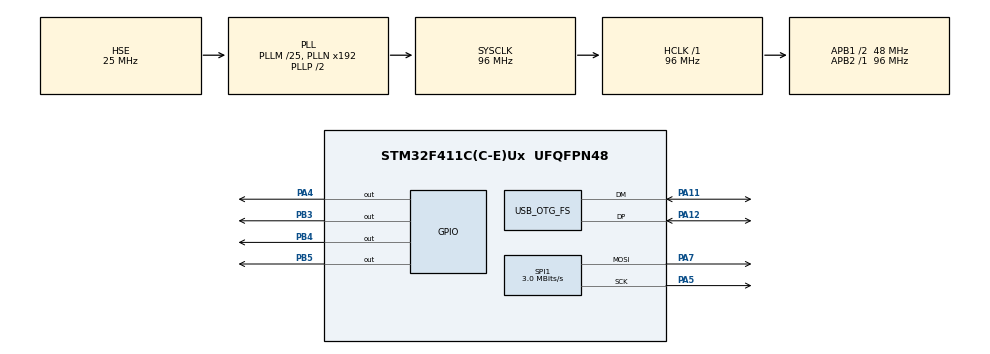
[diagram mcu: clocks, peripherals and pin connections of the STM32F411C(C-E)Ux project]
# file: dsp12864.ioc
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Mcu.Family=STM32F4
Mcu.Name=STM32F411C(C-E)Ux
Mcu.Package=UFQFPN48
NVIC.OTG_FS_IRQn=true\:0\:0\:false\:false\:true\:false\:true
NVIC.PriorityGroup=NVIC_PRIORITYGROUP_4
PA11.Mode=Device_Only
PA11.Signal=USB_OTG_FS_DM
PA12.Mode=Device_Only
PA12.Signal=USB_OTG_FS_DP
PA13.Mode=Serial_Wire
PA13.Signal=SYS_JTMS-SWDIO
PA14.Mode=Serial_Wire
PA14.Signal=SYS_JTCK-SWCLK
PA4.PinState=GPIO_PIN_SET
PA4.Signal=GPIO_Output
PA5.Mode=TX_Only_Simplex_Unidirect_Master
PA5.Signal=SPI1_SCK
PA7.Mode=TX_Only_Simplex_Unidirect_Master
PA7.Signal=SPI1_MOSI
PB3.Signal=GPIO_Output
PB4.Signal=GPIO_Output
PB5.PinState=GPIO_PIN_SET
PB5.Signal=GPIO_Output
PH0\ -\ OSC_IN.Mode=HSE-External-Oscillator
PH0\ -\ OSC_IN.Signal=RCC_OSC_IN
PH1\ -\ OSC_OUT.Mode=HSE-External-Oscillator
PH1\ -\ OSC_OUT.Signal=RCC_OSC_OUT
ProjectManager.HeapSize=0x4000
ProjectManager.StackSize=0x8000
ProjectManager.TargetToolchain=MDK-ARM V5
RCC.48MHZClocksFreq_Value=48000000
RCC.AHBFreq_Value=96000000
RCC.APB1CLKDivider=RCC_HCLK_DIV2
RCC.APB1Freq_Value=48000000
RCC.APB1TimFreq_Value=96000000
RCC.APB2Freq_Value=96000000
RCC.APB2TimFreq_Value=96000000
RCC.CortexFreq_Value=96000000
RCC.HCLKFreq_Value=96000000
RCC.HSE_VALUE=25000000
RCC.HSI_VALUE=16000000
RCC.LSE_VALUE=32768
RCC.PLLM=25
RCC.SYSCLKFreq_VALUE=96000000
RCC.SYSCLKSource=RCC_SYSCLKSOURCE_PLLCLK
RCC.VCOOutputFreq_Value=192000000
SPI1.BaudRatePrescaler=SPI_BAUDRATEPRESCALER_32
SPI1.CLKPhase=SPI_PHASE_2EDGE
SPI1.CLKPolarity=SPI_POLARITY_HIGH
SPI1.CalculateBaudRate=3.0 MBits/s
SPI1.Direction=SPI_DIRECTION_2LINES
SPI1.Mode=SPI_MODE_MASTER
SPI1.VirtualType=VM_MASTER
USB_DEVICE.CLASS_NAME_FS=CDC
USB_DEVICE.USBD_MAX_STR_DESC_SIZ=512
USB_DEVICE.USBD_SELF_POWERED=1
USB_DEVICE.VirtualMode=Cdc
USB_DEVICE.VirtualModeFS=Cdc_FS
USB_OTG_FS.VirtualMode=Device_Only
VP_USB_DEVICE_VS_USB_DEVICE_CDC_FS.Mode=CDC_FS
board=custom

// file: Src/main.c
/* USER CODE BEGIN Header */
/**
  ******************************************************************************
  * @file           : main.c
  * @brief          : Main program body
  ******************************************************************************
  * @attention
  *
  * <h2><center>&copy; Copyright (c) 2020 STMicroelectronics.
  * All rights reserved.</center></h2>
  *
  * This software component is licensed by ST under BSD 3-Clause license,
  * the "License"; You may not use this file except in compliance with the
  * License. You may obtain a copy of the License at:
  *                        opensource.org/licenses/BSD-3-Clause
  *
  ******************************************************************************
  */
/* USER CODE END Header */

#include "main.h"
#include "usb_device.h"

SPI_HandleTypeDef hspi1;

void SystemClock_Config(void);
static void MX_GPIO_Init(void);
static void MX_SPI1_Init(void);

/* USER CODE BEGIN 0 */
void sendCommand(uint8_t cmd){
	HAL_GPIO_WritePin(GPIOB,GPIO_PIN_5,GPIO_PIN_RESET);
	__nop();__nop();__nop();__nop();__nop();__nop();__nop();__nop();
	__nop();__nop();__nop();__nop();__nop();__nop();__nop();__nop();
	__nop();__nop();__nop();__nop();__nop();__nop();__nop();__nop();
	__nop();__nop();__nop();__nop();__nop();__nop();__nop();__nop();
	__nop();__nop();__nop();__nop();__nop();__nop();__nop();__nop();
	__nop();__nop();__nop();__nop();__nop();__nop();__nop();__nop();
	HAL_SPI_Transmit(&hspi1,&cmd,1,1);
	__nop();__nop();__nop();__nop();__nop();__nop();__nop();__nop();
	__nop();__nop();__nop();__nop();__nop();__nop();__nop();__nop();
	__nop();__nop();__nop();__nop();__nop();__nop();__nop();__nop();
	__nop();__nop();__nop();__nop();__nop();__nop();__nop();__nop();
	__nop();__nop();__nop();__nop();__nop();__nop();__nop();__nop();
	__nop();__nop();__nop();__nop();__nop();__nop();__nop();__nop();
	HAL_GPIO_WritePin(GPIOB,GPIO_PIN_5,GPIO_PIN_SET);
	__nop();__nop();__nop();__nop();__nop();__nop();__nop();__nop();
	__nop();__nop();__nop();__nop();__nop();__nop();__nop();__nop();
	__nop();__nop();__nop();__nop();__nop();__nop();__nop();__nop();
	__nop();__nop();__nop();__nop();__nop();__nop();__nop();__nop();
	__nop();__nop();__nop();__nop();__nop();__nop();__nop();__nop();
	__nop();__nop();__nop();__nop();__nop();__nop();__nop();__nop();
}
void clearScreen(){
	for(uint8_t i=32;i<96;i++){
		//set colume
		HAL_GPIO_WritePin(GPIOB,GPIO_PIN_4,GPIO_PIN_RESET);

		sendCommand(0x00+i&0x0F);
		sendCommand(0x10+(i>>4));

		HAL_GPIO_WritePin(GPIOB,GPIO_PIN_4,GPIO_PIN_SET);
		for(uint8_t j=0;j<16;j++){
			sendCommand(0);
		}
	}
	HAL_GPIO_WritePin(GPIOB,GPIO_PIN_4,GPIO_PIN_RESET);
}
void writeScreen(uint8_t* data){
		for(uint8_t i=32;i<96;i++){
		//set colume
		HAL_GPIO_WritePin(GPIOB,GPIO_PIN_4,GPIO_PIN_RESET);

		sendCommand(0x00+i&0x0F);
		sendCommand(0x10+(i>>4));

		HAL_GPIO_WritePin(GPIOB,GPIO_PIN_4,GPIO_PIN_SET);
		for(uint8_t j=0;j<16;j++){
			sendCommand(*(data+16*(i-32)+j));
			//sendCommand(2);
		}
	}
	HAL_GPIO_WritePin(GPIOB,GPIO_PIN_4,GPIO_PIN_RESET);
}
uint8_t screenData[1024];
void writeBuffer(uint8_t* Buf, uint32_t *Len){
	if(*Len!=64)return;
	static uint8_t page=0;
	memcpy(screenData+64*page,Buf,64);
	page=(page+1)%16;
}
/* USER CODE END 0 */

int main(void)
{

  /* MCU Configuration--------------------------------------------------------*/

  /* Reset of all peripherals, Initializes the Flash interface and the Systick. */
  HAL_Init();

  /* Configure the system clock */
  SystemClock_Config();

  /* Initialize all configured peripherals */
  MX_GPIO_Init();
  MX_SPI1_Init();
  MX_USB_DEVICE_Init();
  /* USER CODE BEGIN 2 */

	//RESET
	HAL_GPIO_WritePin(GPIOB,GPIO_PIN_3,GPIO_PIN_RESET);
	HAL_Delay(20);
	HAL_GPIO_WritePin(GPIOB,GPIO_PIN_3,GPIO_PIN_SET);
	HAL_Delay(10);
	sendCommand(0x00);
	sendCommand(0x21);//VERTICAL
	sendCommand(0xD9);//CHARGE
	sendCommand(0x11);//1+1
	//sendCommand(0xD5);//CLK
	//sendCommand(0xF0);//MAX+DIV1

	clearScreen();
	sendCommand(0xAF);
	HAL_Delay(200);

	//for(int i=0;i<1024;i++)screenData[i]=3;

  /* USER CODE END 2 */

  /* Infinite loop */
  /* USER CODE BEGIN WHILE */
  while (1)
  {
		writeScreen(screenData);
    /* USER CODE END WHILE */

  }
}

void SystemClock_Config(void)
{
  RCC_OscInitTypeDef RCC_OscInitStruct = {0};
  RCC_ClkInitTypeDef RCC_ClkInitStruct = {0};

  /** Configure the main internal regulator output voltage
  */
  __HAL_RCC_PWR_CLK_ENABLE();
  __HAL_PWR_VOLTAGESCALING_CONFIG(PWR_REGULATOR_VOLTAGE_SCALE1);
  /** Initializes the CPU, AHB and APB busses clocks
  */
  RCC_OscInitStruct.OscillatorType = RCC_OSCILLATORTYPE_HSE;
  RCC_OscInitStruct.HSEState = RCC_HSE_ON;
  RCC_OscInitStruct.PLL.PLLState = RCC_PLL_ON;
  RCC_OscInitStruct.PLL.PLLSource = RCC_PLLSOURCE_HSE;
  RCC_OscInitStruct.PLL.PLLM = 25;
  RCC_OscInitStruct.PLL.PLLN = 192;
  RCC_OscInitStruct.PLL.PLLP = RCC_PLLP_DIV2;
  RCC_OscInitStruct.PLL.PLLQ = 4;
  if (HAL_RCC_OscConfig(&RCC_OscInitStruct) != HAL_OK)
  {
    Error_Handler();
  }
  /** Initializes the CPU, AHB and APB busses clocks
  */
  RCC_ClkInitStruct.ClockType = RCC_CLOCKTYPE_HCLK|RCC_CLOCKTYPE_SYSCLK
                              |RCC_CLOCKTYPE_PCLK1|RCC_CLOCKTYPE_PCLK2;
  RCC_ClkInitStruct.SYSCLKSource = RCC_SYSCLKSOURCE_PLLCLK;
  RCC_ClkInitStruct.AHBCLKDivider = RCC_SYSCLK_DIV1;
  RCC_ClkInitStruct.APB1CLKDivider = RCC_HCLK_DIV2;
  RCC_ClkInitStruct.APB2CLKDivider = RCC_HCLK_DIV1;

  if (HAL_RCC_ClockConfig(&RCC_ClkInitStruct, FLASH_LATENCY_3) != HAL_OK)
  {
    Error_Handler();
  }
}

static void MX_SPI1_Init(void)
{

  /* SPI1 parameter configuration*/
  hspi1.Instance = SPI1;
  hspi1.Init.Mode = SPI_MODE_MASTER;
  hspi1.Init.Direction = SPI_DIRECTION_2LINES;
  hspi1.Init.DataSize = SPI_DATASIZE_8BIT;
  hspi1.Init.CLKPolarity = SPI_POLARITY_HIGH;
  hspi1.Init.CLKPhase = SPI_PHASE_2EDGE;
  hspi1.Init.NSS = SPI_NSS_SOFT;
  hspi1.Init.BaudRatePrescaler = SPI_BAUDRATEPRESCALER_32;
  hspi1.Init.FirstBit = SPI_FIRSTBIT_MSB;
  hspi1.Init.TIMode = SPI_TIMODE_DISABLE;
  hspi1.Init.CRCCalculation = SPI_CRCCALCULATION_DISABLE;
  hspi1.Init.CRCPolynomial = 10;
  if (HAL_SPI_Init(&hspi1) != HAL_OK)
  {
    Error_Handler();
  }

}

static void MX_GPIO_Init(void)
{
  GPIO_InitTypeDef GPIO_InitStruct = {0};

  /* GPIO Ports Clock Enable */
  __HAL_RCC_GPIOH_CLK_ENABLE();
  __HAL_RCC_GPIOA_CLK_ENABLE();
  __HAL_RCC_GPIOB_CLK_ENABLE();

  /*Configure GPIO pin Output Level */
  HAL_GPIO_WritePin(GPIOA, GPIO_PIN_4, GPIO_PIN_SET);

  /*Configure GPIO pin Output Level */
  HAL_GPIO_WritePin(GPIOB, GPIO_PIN_3|GPIO_PIN_4, GPIO_PIN_RESET);

  /*Configure GPIO pin Output Level */
  HAL_GPIO_WritePin(GPIOB, GPIO_PIN_5, GPIO_PIN_SET);

  /*Configure GPIO pin : PA4 */
  GPIO_InitStruct.Pin = GPIO_PIN_4;
  GPIO_InitStruct.Mode = GPIO_MODE_OUTPUT_PP;
  GPIO_InitStruct.Pull = GPIO_NOPULL;
  GPIO_InitStruct.Speed = GPIO_SPEED_FREQ_LOW;
  HAL_GPIO_Init(GPIOA, &GPIO_InitStruct);

  /*Configure GPIO pins : PB3 PB4 PB5 */
  GPIO_InitStruct.Pin = GPIO_PIN_3|GPIO_PIN_4|GPIO_PIN_5;
  GPIO_InitStruct.Mode = GPIO_MODE_OUTPUT_PP;
  GPIO_InitStruct.Pull = GPIO_NOPULL;
  GPIO_InitStruct.Speed = GPIO_SPEED_FREQ_LOW;
  HAL_GPIO_Init(GPIOB, &GPIO_InitStruct);

}

void Error_Handler(void)
{
}

/************************ (C) COPYRIGHT STMicroelectronics *****END OF FILE****/
